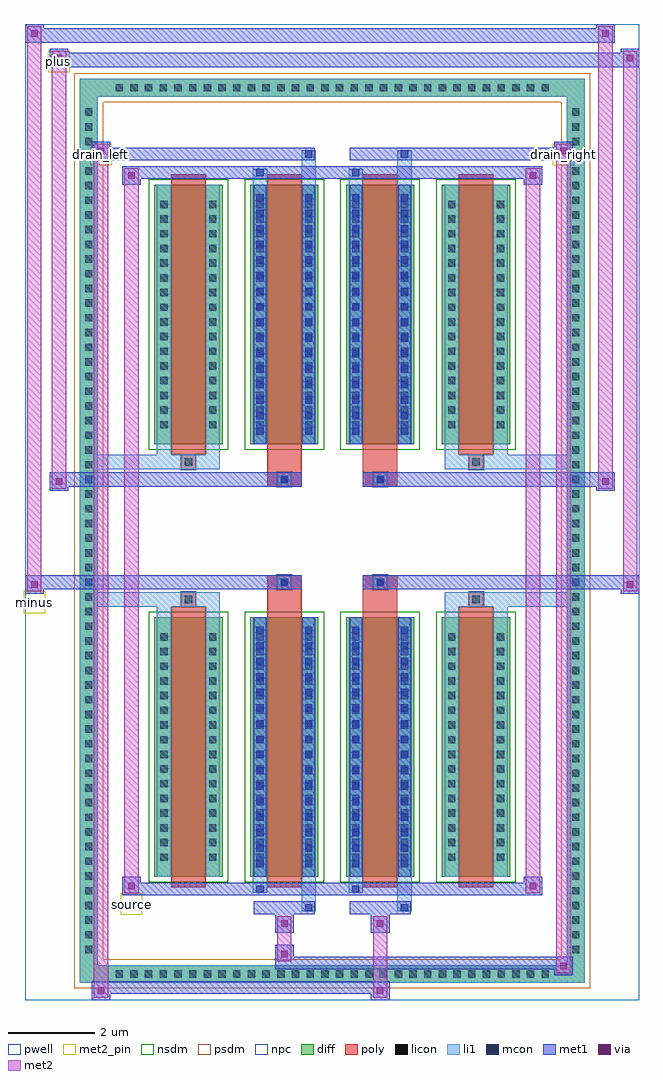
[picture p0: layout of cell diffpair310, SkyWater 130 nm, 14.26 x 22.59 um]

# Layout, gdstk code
import gdstk
lib = gdstk.Library(unit=1e-6, precision=5e-09)
def R(c, l, rs):  # rectangles x0, y0, x1, y1
    for r in rs: c.add(gdstk.rectangle(r[:2], r[2:], *l))
def A(c, l, x, y, w, h, nx, ny, dx, dy):  # array of equal rectangles
    R(c, l, [(x+i*dx, y+j*dy, x+i*dx+w, y+j*dy+h) for i in range(nx) for j in range(ny)])
def P(c, l, *ps):  # polygons
    for p in ps: c.add(gdstk.Polygon(p, *l))
pwell = (64, 44)
diff = (65, 20)
poly = (66, 20)
licon = (66, 44)
li1 = (67, 20)
mcon = (67, 44)
met1 = (68, 20)
via = (68, 44)
met2_pin = (69, 16)
met2 = (69, 20)
nsdm = (93, 44)
psdm = (94, 20)
npc = (95, 20)

diffpair310 = lib.new_cell('diffpair310')
R(diffpair310, pwell, [(-7.11,-10.86,7.11,11.73), (-4.43,-9.05,-0.01,-0.825), (0.01,-9.05,4.43,-0.825), (-4.43,0.825,-0.01,9.05), (0.01,0.825,4.43,9.05)])
A(diffpair310, diff, -5.135, -10.46, 0.41, 0.41, 30, 2, 0.34, 20.51)
A(diffpair310, diff, -5.84, -9.895, 0.41, 0.41, 1, 58, 0, 0.34)
A(diffpair310, diff, 5.43, -9.895, 0.41, 0.41, 1, 58, 0, 0.34)
A(diffpair310, diff, -4.12, -8.005, 1.58, 6, 4, 2, 2.22, 10.01)
R(diffpair310, diff, [(-5.135,-10.46,5.135,-10.05), (-5.84,-9.895,-5.43,9.895), (5.43,-9.895,5.84,9.895), (-5.135,10.05,5.135,10.46)])
P(diffpair310, diff, [(5.84,10.46),(-5.84,10.46),(-5.84,-10.05),(-5.43,-10.05),(-5.43,10.05),(5.43,10.05),(5.43,-10.05),(-5.43,-10.05),(-5.84,-10.05),(-5.84,-10.46),(5.84,-10.46)])
A(diffpair310, poly, -3.73, -8.255, 0.8, 6.5, 4, 2, 2.22, 10.01)
R(diffpair310, poly, [(-3.495,-1.755,-3.165,-1.425), (-3.495,-1.755,-3.165,-1.425), (-1.51,-1.755,-0.71,-1.355), (0.71,-1.755,1.51,-1.355), (3.165,-1.755,3.495,-1.425), (3.165,-1.755,3.495,-1.425), (-1.51,-1.355,-0.71,-1.025), (-1.275,-1.355,-0.945,-1.025), (0.71,-1.355,1.51,-1.025), (0.945,-1.355,1.275,-1.025), (-1.51,1.025,-0.71,1.355), (-1.275,1.025,-0.945,1.355), (0.71,1.025,1.51,1.355), (0.945,1.025,1.275,1.355), (-1.51,1.355,-0.71,1.755), (0.71,1.355,1.51,1.755), (-3.495,1.425,-3.165,1.755), (-3.495,1.425,-3.165,1.755), (3.165,1.425,3.495,1.755), (3.165,1.425,3.495,1.755)])
A(diffpair310, licon, -5.015, -10.34, 0.17, 0.17, 30, 2, 0.34, 20.51)
A(diffpair310, licon, -5.72, -9.775, 0.17, 0.17, 1, 58, 0, 0.34)
A(diffpair310, licon, 5.55, -9.775, 0.17, 0.17, 1, 58, 0, 0.34)
A(diffpair310, licon, -3.98, -7.64, 0.17, 0.17, 1, 16, 0, 0.34)
A(diffpair310, licon, -2.85, -7.64, 0.17, 0.17, 1, 16, 0, 0.34)
A(diffpair310, licon, -1.76, -7.64, 0.17, 0.17, 1, 16, 0, 0.34)
A(diffpair310, licon, -0.63, -7.64, 0.17, 0.17, 1, 16, 0, 0.34)
A(diffpair310, licon, 0.46, -7.64, 0.17, 0.17, 1, 16, 0, 0.34)
A(diffpair310, licon, 1.59, -7.64, 0.17, 0.17, 1, 16, 0, 0.34)
A(diffpair310, licon, 2.68, -7.64, 0.17, 0.17, 1, 16, 0, 0.34)
A(diffpair310, licon, 3.81, -7.64, 0.17, 0.17, 1, 16, 0, 0.34)
A(diffpair310, licon, -3.98, 2.37, 0.17, 0.17, 1, 16, 0, 0.34)
A(diffpair310, licon, -2.85, 2.37, 0.17, 0.17, 1, 16, 0, 0.34)
A(diffpair310, licon, -1.76, 2.37, 0.17, 0.17, 1, 16, 0, 0.34)
A(diffpair310, licon, -0.63, 2.37, 0.17, 0.17, 1, 16, 0, 0.34)
A(diffpair310, licon, 0.46, 2.37, 0.17, 0.17, 1, 16, 0, 0.34)
A(diffpair310, licon, 1.59, 2.37, 0.17, 0.17, 1, 16, 0, 0.34)
A(diffpair310, licon, 2.68, 2.37, 0.17, 0.17, 1, 16, 0, 0.34)
A(diffpair310, licon, 3.81, 2.37, 0.17, 0.17, 1, 16, 0, 0.34)
R(diffpair310, licon, [(-3.415,-1.675,-3.245,-1.505), (3.245,-1.675,3.415,-1.505), (-1.195,-1.275,-1.025,-1.105), (1.025,-1.275,1.195,-1.105), (-1.195,1.105,-1.025,1.275), (1.025,1.105,1.195,1.275), (-3.415,1.505,-3.245,1.675), (3.245,1.505,3.415,1.675)])
A(diffpair310, li1, -5.095, -10.42, 0.33, 0.33, 30, 2, 0.34, 20.51)
A(diffpair310, li1, -5.8, -9.855, 0.33, 0.33, 1, 58, 0, 0.34)
A(diffpair310, li1, 5.47, -9.855, 0.33, 0.33, 1, 58, 0, 0.34)
A(diffpair310, li1, -1.76, -7.79, 0.17, 0.17, 1, 16, 0, 0.36)
A(diffpair310, li1, -0.63, -7.79, 0.17, 0.17, 1, 16, 0, 0.36)
A(diffpair310, li1, 0.46, -7.79, 0.17, 0.17, 1, 16, 0, 0.36)
A(diffpair310, li1, 1.59, -7.79, 0.17, 0.17, 1, 16, 0, 0.36)
A(diffpair310, li1, -4.06, -7.72, 0.33, 0.33, 1, 16, 0, 0.34)
A(diffpair310, li1, -2.93, -7.72, 0.33, 0.33, 1, 16, 0, 0.34)
A(diffpair310, li1, -1.84, -7.72, 0.33, 0.33, 1, 16, 0, 0.34)
A(diffpair310, li1, -0.71, -7.72, 0.33, 0.33, 1, 16, 0, 0.34)
A(diffpair310, li1, 0.38, -7.72, 0.33, 0.33, 1, 16, 0, 0.34)
A(diffpair310, li1, 1.51, -7.72, 0.33, 0.33, 1, 16, 0, 0.34)
A(diffpair310, li1, 2.6, -7.72, 0.33, 0.33, 1, 16, 0, 0.34)
A(diffpair310, li1, 3.73, -7.72, 0.33, 0.33, 1, 16, 0, 0.34)
A(diffpair310, li1, -1.76, 2.22, 0.17, 0.17, 1, 16, 0, 0.36)
A(diffpair310, li1, -0.63, 2.22, 0.17, 0.17, 1, 16, 0, 0.36)
A(diffpair310, li1, 0.46, 2.22, 0.17, 0.17, 1, 16, 0, 0.36)
A(diffpair310, li1, 1.59, 2.22, 0.17, 0.17, 1, 16, 0, 0.36)
A(diffpair310, li1, -4.06, 2.29, 0.33, 0.33, 1, 16, 0, 0.34)
A(diffpair310, li1, -2.93, 2.29, 0.33, 0.33, 1, 16, 0, 0.34)
A(diffpair310, li1, -1.84, 2.29, 0.33, 0.33, 1, 16, 0, 0.34)
A(diffpair310, li1, -0.71, 2.29, 0.33, 0.33, 1, 16, 0, 0.34)
A(diffpair310, li1, 0.38, 2.29, 0.33, 0.33, 1, 16, 0, 0.34)
A(diffpair310, li1, 1.51, 2.29, 0.33, 0.33, 1, 16, 0, 0.34)
A(diffpair310, li1, 2.6, 2.29, 0.33, 0.33, 1, 16, 0, 0.34)
A(diffpair310, li1, 3.73, 2.29, 0.33, 0.33, 1, 16, 0, 0.34)
R(diffpair310, li1, [(-5.84,-10.46,-5.43,-10.05), (-5.84,-10.46,-5.43,-10.05), (-5.43,-10.46,5.43,-10.05), (5.43,-10.46,5.84,-10.05), (5.43,-10.46,5.84,-10.05), (-5.84,-10.05,-5.43,10.05), (5.43,-10.05,5.84,10.05), (-0.71,-8.81,-0.38,-8.005), (-0.63,-8.81,-0.46,-8.64), (1.51,-8.81,1.84,-8.005), (1.59,-8.81,1.76,-8.64), (-1.84,-8.38,-1.51,-8.005), (-1.76,-8.38,-1.59,-8.21), (0.38,-8.38,0.71,-8.005), (0.46,-8.38,0.63,-8.21), (-4.06,-8.005,-3.73,-2.005), (-2.93,-8.005,-2.6,-2.005), (-1.84,-8.005,-1.51,-2.005), (-0.71,-8.005,-0.38,-2.005), (0.38,-8.005,0.71,-2.005), (1.51,-8.005,1.84,-2.005), (2.6,-8.005,2.93,-2.005), (3.73,-8.005,4.06,-2.005), (-1.76,-7.79,-1.59,-2.22), (-0.63,-7.79,-0.46,-2.22), (0.46,-7.79,0.63,-2.22), (1.59,-7.79,1.76,-2.22), (-4.06,-2.005,-3.73,-1.425), (-2.93,-2.005,-2.6,-1.425), (2.6,-2.005,2.93,-1.425), (3.73,-2.005,4.06,-1.425), (-5.84,-1.755,-3.495,-1.425), (-4.06,-1.755,-3.495,-1.425), (-3.495,-1.755,-3.165,-1.425), (-3.165,-1.755,-2.6,-1.425), (2.6,-1.755,3.165,-1.425), (3.165,-1.755,3.495,-1.425), (3.165,-1.755,5.84,-1.425), (3.495,-1.755,4.06,-1.425), (-1.275,-1.355,-0.945,-1.025), (0.945,-1.355,1.275,-1.025), (-1.275,1.025,-0.945,1.355), (0.945,1.025,1.275,1.355), (-5.84,1.425,-3.495,1.755), (-4.06,1.425,-3.495,1.755), (-4.06,1.425,-3.73,2.005), (-3.495,1.425,-3.165,1.755), (-3.165,1.425,-2.6,1.755), (-2.93,1.425,-2.6,2.005), (2.6,1.425,3.165,1.755), (2.6,1.425,2.93,2.005), (3.165,1.425,3.495,1.755), (3.165,1.425,5.84,1.755), (3.495,1.425,4.06,1.755), (3.73,1.425,4.06,2.005), (-4.06,2.005,-3.73,8.005), (-2.93,2.005,-2.6,8.005), (-1.84,2.005,-1.51,8.005), (-0.71,2.005,-0.38,8.005), (0.38,2.005,0.71,8.005), (1.51,2.005,1.84,8.005), (2.6,2.005,2.93,8.005), (3.73,2.005,4.06,8.005), (-1.76,2.22,-1.59,7.79), (-0.63,2.22,-0.46,7.79), (0.46,2.22,0.63,7.79), (1.59,2.22,1.76,7.79), (-1.84,8.005,-1.51,8.38), (-0.71,8.005,-0.38,8.81), (0.38,8.005,0.71,8.38), (1.51,8.005,1.84,8.81), (-1.76,8.21,-1.59,8.38), (0.46,8.21,0.63,8.38), (-0.63,8.64,-0.46,8.81), (1.59,8.64,1.76,8.81), (-5.84,10.05,-5.43,10.46), (-5.84,10.05,-5.43,10.46), (-5.43,10.05,5.43,10.46), (5.43,10.05,5.84,10.46), (5.43,10.05,5.84,10.46)])
A(diffpair310, mcon, -1.76, -7.79, 0.17, 0.17, 1, 16, 0, 0.36)
A(diffpair310, mcon, -0.63, -7.79, 0.17, 0.17, 1, 16, 0, 0.36)
A(diffpair310, mcon, 0.46, -7.79, 0.17, 0.17, 1, 16, 0, 0.36)
A(diffpair310, mcon, 1.59, -7.79, 0.17, 0.17, 1, 16, 0, 0.36)
A(diffpair310, mcon, -1.76, 2.22, 0.17, 0.17, 1, 16, 0, 0.36)
A(diffpair310, mcon, -0.63, 2.22, 0.17, 0.17, 1, 16, 0, 0.36)
A(diffpair310, mcon, 0.46, 2.22, 0.17, 0.17, 1, 16, 0, 0.36)
A(diffpair310, mcon, 1.59, 2.22, 0.17, 0.17, 1, 16, 0, 0.36)
R(diffpair310, mcon, [(-0.63,-8.81,-0.46,-8.64), (1.59,-8.81,1.76,-8.64), (-1.76,-8.38,-1.59,-8.21), (0.46,-8.38,0.63,-8.21), (-1.195,-1.275,-1.025,-1.105), (1.025,-1.275,1.195,-1.105), (-1.195,1.105,-1.025,1.275), (1.025,1.105,1.195,1.275), (-1.76,8.21,-1.59,8.38), (0.46,8.21,0.63,8.38), (-0.63,8.64,-0.46,8.81), (1.59,8.64,1.76,8.81)])
A(diffpair310, met1, -1.82, -7.85, 0.29, 0.29, 1, 16, 0, 0.36)
A(diffpair310, met1, -0.69, -7.85, 0.29, 0.29, 1, 16, 0, 0.36)
A(diffpair310, met1, 0.4, -7.85, 0.29, 0.29, 1, 16, 0, 0.36)
A(diffpair310, met1, 1.53, -7.85, 0.29, 0.29, 1, 16, 0, 0.36)
A(diffpair310, met1, -1.82, 2.16, 0.29, 0.29, 1, 16, 0, 0.36)
A(diffpair310, met1, -0.69, 2.16, 0.29, 0.29, 1, 16, 0, 0.36)
A(diffpair310, met1, 0.4, 2.16, 0.29, 0.29, 1, 16, 0, 0.36)
A(diffpair310, met1, 1.53, 2.16, 0.29, 0.29, 1, 16, 0, 0.36)
R(diffpair310, met1, [(-5.57,-10.86,-5.14,-10.43), (0.895,-10.86,1.325,-10.43), (-5.57,-10.72,1.325,-10.43), (5.14,-10.29,5.57,-9.86), (-1.325,-10.15,5.57,-9.86), (-1.325,-10.01,-0.895,-9.58), (-1.325,-9.3,-0.895,-8.87), (0.895,-9.3,1.325,-8.87), (-1.82,-8.87,-0.4,-8.58), (-0.69,-8.87,-0.4,-8.58), (0.4,-8.87,1.82,-8.58), (1.53,-8.87,1.82,-8.58), (-4.86,-8.44,-4.43,-8.01), (-4.86,-8.44,-1.82,-8.15), (-1.82,-8.44,-1.53,-8.15), (-1.82,-8.44,-0.4,-8.15), (-0.4,-8.44,0.4,-8.15), (0.4,-8.44,0.69,-8.15), (0.4,-8.44,1.82,-8.15), (1.82,-8.44,4.86,-8.15), (4.43,-8.44,4.86,-8.01), (-1.82,-8.005,-1.53,-2.005), (-0.69,-8.005,-0.4,-2.005), (0.4,-8.005,0.69,-2.005), (1.53,-8.005,1.82,-2.005), (-7.11,-1.455,-6.68,-1.025), (6.68,-1.455,7.11,-1.025), (-7.11,-1.355,-0.71,-1.025), (-1.51,-1.355,-0.71,-1.025), (0.71,-1.355,1.51,-1.025), (0.71,-1.355,7.11,-1.025), (-1.255,-1.335,-0.965,-1.045), (0.965,-1.335,1.255,-1.045), (-6.54,0.925,-6.11,1.355), (6.11,0.925,6.54,1.355), (-6.54,1.025,-1.51,1.355), (-1.51,1.025,-0.71,1.355), (0.71,1.025,1.51,1.355), (1.51,1.025,6.54,1.355), (-1.255,1.045,-0.965,1.335), (0.965,1.045,1.255,1.335), (-1.82,2.005,-1.53,8.005), (-0.69,2.005,-0.4,8.005), (0.4,2.005,0.69,8.005), (1.53,2.005,1.82,8.005), (-4.86,8.01,-4.43,8.44), (4.43,8.01,4.86,8.44), (-4.86,8.15,-1.82,8.44), (-1.82,8.15,-1.53,8.44), (-1.82,8.15,-0.4,8.44), (-0.4,8.15,0.4,8.44), (0.4,8.15,0.69,8.44), (0.4,8.15,1.82,8.44), (1.82,8.15,4.86,8.44), (-5.57,8.58,-5.14,9.01), (-5.57,8.58,-1.82,8.87), (-1.82,8.58,-0.4,8.87), (-0.69,8.58,-0.4,8.87), (0.4,8.58,1.82,8.87), (1.53,8.58,1.82,8.87), (1.82,8.58,5.57,8.87), (5.14,8.58,5.57,9.01), (-6.54,10.73,-6.11,11.16), (-6.54,10.73,-4.43,11.06), (-4.43,10.73,4.43,11.06), (4.43,10.73,7.11,11.06), (6.68,10.73,7.11,11.16), (-7.11,11.3,-6.68,11.73), (-7.11,11.3,-4.43,11.63), (-4.43,11.3,4.43,11.63), (4.43,11.3,6.54,11.63), (6.11,11.3,6.54,11.73)])
R(diffpair310, via, [(-5.43,-10.72,-5.28,-10.57), (1.035,-10.72,1.185,-10.57), (5.28,-10.15,5.43,-10), (-1.185,-9.87,-1.035,-9.72), (-1.185,-9.16,-1.035,-9.01), (1.035,-9.16,1.185,-9.01), (-4.72,-8.3,-4.57,-8.15), (4.57,-8.3,4.72,-8.15), (-6.97,-1.315,-6.82,-1.165), (6.82,-1.315,6.97,-1.165), (-6.4,1.065,-6.25,1.215), (6.25,1.065,6.4,1.215), (-4.72,8.15,-4.57,8.3), (4.57,8.15,4.72,8.3), (-5.43,8.72,-5.28,8.87), (5.28,8.72,5.43,8.87), (-6.4,10.87,-6.25,11.02), (6.82,10.87,6.97,11.02), (-6.97,11.44,-6.82,11.59), (6.25,11.44,6.4,11.59)])
R(diffpair310, met2_pin, [(-4.895,-8.89,-4.395,-8.39), (-7.145,-1.905,-6.645,-1.405), (-5.605,8.46,-5.105,8.96), (5.105,8.46,5.605,8.96), (-6.575,10.61,-6.075,11.11)])
R(diffpair310, met2, [(-5.52,-10.81,-5.19,-10.48), (-5.52,-10.81,-5.19,8.96), (0.945,-10.81,1.275,-10.48), (0.945,-10.48,1.275,-9.25), (5.19,-10.24,5.52,-9.91), (5.19,-10.24,5.52,8.96), (-1.275,-9.96,-0.945,-9.63), (-1.275,-9.63,-0.945,-9.25), (-1.275,-9.25,-0.945,-8.92), (0.945,-9.25,1.275,-8.92), (-4.81,-8.39,-4.48,-8.06), (-4.81,-8.39,-4.48,8.39), (4.48,-8.39,4.81,-8.06), (4.48,-8.39,4.81,8.39), (-7.06,-1.405,-6.73,-1.075), (-7.06,-1.405,-6.73,11.68), (6.73,-1.405,7.06,-1.075), (6.73,-1.405,7.06,11.11), (-6.49,0.975,-6.16,1.305), (-6.49,0.975,-6.16,11.11), (6.16,0.975,6.49,1.305), (6.16,0.975,6.49,11.68), (-4.81,8.06,-4.48,8.39), (4.48,8.06,4.81,8.39), (-5.52,8.63,-5.19,8.96), (5.19,8.63,5.52,8.96), (-6.49,10.78,-6.16,11.11), (6.73,10.78,7.06,11.11), (-7.06,11.35,-6.73,11.68), (6.16,11.35,6.49,11.68)])
P(diffpair310, met2, [(7.06,-1.405),(7.06,-1.405),(7.06,-1.075),(7.06,-1.075)],
  [(7.06,10.78),(7.06,10.78),(7.06,11.11),(7.06,11.11)],
  [(-6.73,-1.405),(-6.73,-1.405),(-6.73,-1.075),(-6.73,-1.075)],
  [(-6.73,11.35),(-6.73,11.35),(-6.73,11.68),(-6.73,11.68)],
  [(6.49,0.975),(6.49,0.975),(6.49,1.305),(6.49,1.305)],
  [(6.49,11.35),(6.49,11.35),(6.49,11.68),(6.49,11.68)],
  [(-6.16,0.975),(-6.16,0.975),(-6.16,1.305),(-6.16,1.305)],
  [(-6.16,10.78),(-6.16,10.78),(-6.16,11.11),(-6.16,11.11)],
  [(-5.19,-10.81),(-5.19,-10.81),(-5.19,-10.48),(-5.19,-10.48)],
  [(-5.19,8.63),(-5.19,8.63),(-5.19,8.96),(-5.19,8.96)],
  [(5.52,-10.24),(5.52,-10.24),(5.52,-9.91),(5.52,-9.91)],
  [(5.52,8.63),(5.52,8.63),(5.52,8.96),(5.52,8.96)],
  [(-4.48,-8.39),(-4.48,-8.39),(-4.48,-8.06),(-4.48,-8.06)],
  [(-4.48,8.06),(-4.48,8.06),(-4.48,8.39),(-4.48,8.39)],
  [(4.81,-8.39),(4.81,-8.39),(4.81,-8.06),(4.81,-8.06)],
  [(4.81,8.06),(4.81,8.06),(4.81,8.39),(4.81,8.39)])
A(diffpair310, nsdm, -4.25, -8.135, 1.84, 6.26, 4, 2, 2.22, 10.01)
P(diffpair310, psdm, [(5.97,10.59),(-5.97,10.59),(-5.97,-9.92),(-5.3,-9.92),(-5.3,9.92),(5.3,9.92),(5.3,-9.92),(-5.3,-9.92),(-5.97,-9.92),(-5.97,-10.59),(5.97,-10.59)])
R(diffpair310, npc, [(-3.515,-1.775,-3.145,-1.405), (3.145,-1.775,3.515,-1.405), (-1.295,-1.375,-0.925,-1.005), (0.925,-1.375,1.295,-1.005), (-1.295,1.005,-0.925,1.375), (0.925,1.005,1.295,1.375), (-3.515,1.405,-3.145,1.775), (3.145,1.405,3.515,1.775)])
diffpair310.add(gdstk.Label('minus', (-6.895,-1.655), layer=69, texttype=5))
diffpair310.add(gdstk.Label('drain_right', (5.355,8.71), layer=69, texttype=5))
diffpair310.add(gdstk.Label('drain_left', (-5.355,8.71), layer=69, texttype=5))
diffpair310.add(gdstk.Label('source', (-4.645,-8.64), layer=69, texttype=5))
diffpair310.add(gdstk.Label('plus', (-6.325,10.86), layer=69, texttype=5))

lib.write_gds('diffpair310.gds')
